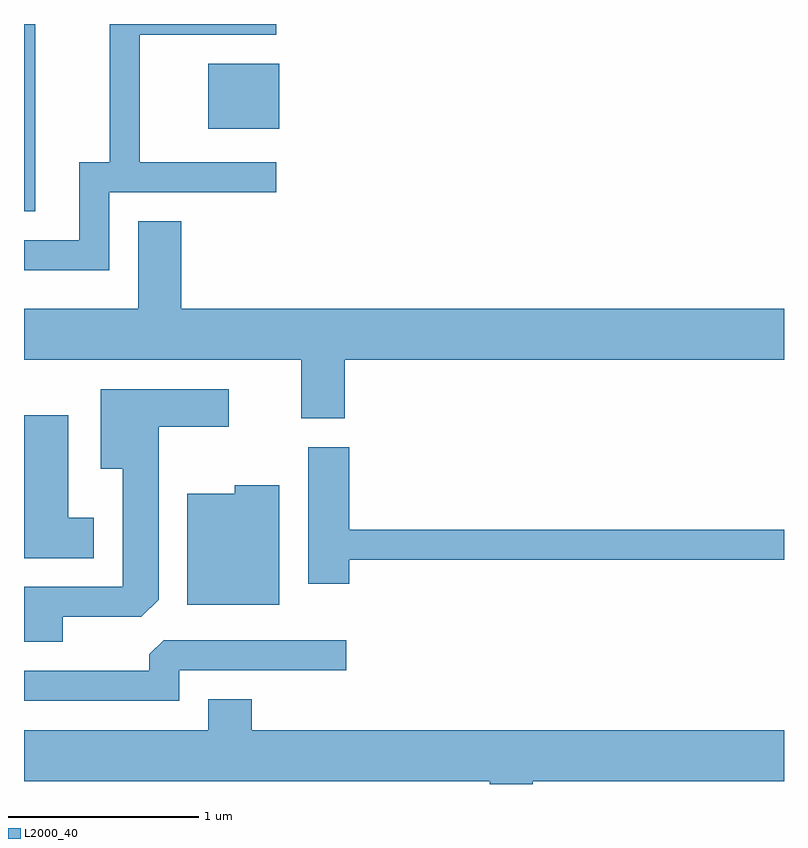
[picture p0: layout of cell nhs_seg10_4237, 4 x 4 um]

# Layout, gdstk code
import gdstk
lib = gdstk.Library(unit=1e-6, precision=1e-09)
def R(c, l, rs):  # rectangles x0, y0, x1, y1
    for r in rs: c.add(gdstk.rectangle(r[:2], r[2:], *l))
def P(c, l, *ps):  # polygons
    for p in ps: c.add(gdstk.Polygon(p, *l))
L2000_40 = (2000, 40)

nhs_seg10_4237 = lib.new_cell('nhs_seg10_4237')
R(nhs_seg10_4237, L2000_40, [(309.611,2163.536,309.669,2164.522), (310.581,2163.971,310.954,2164.314)])
P(nhs_seg10_4237, L2000_40, [(310.059,2163.636),(310.938,2163.636),(310.938,2163.794),(310.219,2163.794),(310.219,2164.466),(310.938,2164.466),(310.938,2164.522),(310.061,2164.522),(310.061,2163.794),(309.901,2163.794),(309.901,2163.384),(309.611,2163.384),(309.611,2163.226),(310.059,2163.226)],
  [(311.299,2162.756),(313.611,2162.756),(313.611,2163.024),(310.439,2163.024),(310.439,2163.484),(310.211,2163.484),(310.211,2163.024),(309.611,2163.024),(309.611,2162.756),(311.071,2162.756),(311.071,2162.446),(311.299,2162.446)],
  [(309.814,2161.401),(310.229,2161.401),(310.319,2161.492),(310.319,2162.401),(310.689,2162.401),(310.689,2162.599),(310.016,2162.599),(310.016,2162.181),(310.131,2162.181),(310.131,2161.559),(309.611,2161.559),(309.611,2161.271),(309.814,2161.271)],
  [(309.979,2161.924),(309.844,2161.924),(309.844,2162.464),(309.611,2162.464),(309.611,2161.711),(309.979,2161.711)],
  [(311.324,2161.701),(313.611,2161.701),(313.611,2161.859),(311.324,2161.859),(311.324,2162.294),(311.106,2162.294),(311.106,2161.576),(311.324,2161.576)],
  [(310.954,2162.094),(310.721,2162.094),(310.721,2162.049),(310.471,2162.049),(310.471,2161.466),(310.954,2161.466)],
  [(310.429,2161.121),(311.308,2161.121),(311.308,2161.279),(310.347,2161.279),(310.271,2161.204),(310.271,2161.119),(309.611,2161.119),(309.611,2160.961),(310.429,2160.961)],
  [(312.289,2160.536),(313.611,2160.536),(313.611,2160.804),(310.809,2160.804),(310.809,2160.969),(310.581,2160.969),(310.581,2160.804),(309.611,2160.804),(309.611,2160.536),(312.061,2160.536),(312.061,2160.522),(312.289,2160.522)])

lib.write_gds('nhs_seg10_4237.gds')
